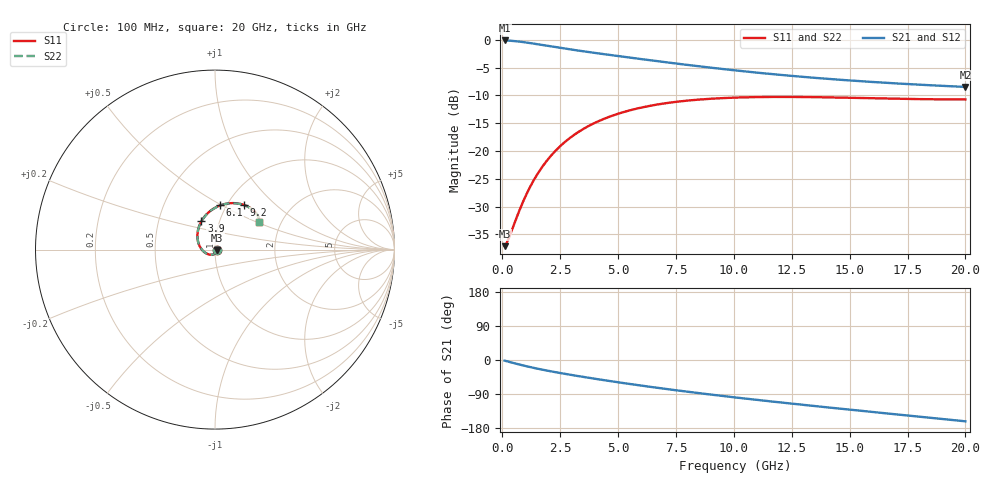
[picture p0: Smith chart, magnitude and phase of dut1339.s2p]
! Touchstone file exported from HFSS 2024.1.0
!  File:  C:/UserFiles/LocalFiles/RDL_TSV_Batchsim/temp_RDL_TSV_1339_1780391232.aedt
!  Generated:  05:22:02 PM Jun  2, 2026
!  Design:  RDL_TSV
!  Project:  temp_RDL_TSV_1339_1780391232
!  Setup:  Setup1
!  Solution:  Sweep
! Variables:
!  dtsv = 13.69um
!  hbump = 3um
!  htsv = 84.77um
!  ldown = 234.83um
!  lrdl = 301.14um
!  p = 40
!  p1 = 54.66um
!  rhole = 10um
!  subl = 1909.05um
!  t = 450um
!  tdown = 2.53um
!  trdl = 3.8um
!  viad = 10um
!  wdown = 11.61um
!  wrdl = 23.72um
!  xbump = 18um
# GHz S MA R 50.000000
! Terminal data exported
! Port[1] = TM1_1_T1
! Port[2] = TM1_4_T1
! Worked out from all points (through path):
!   200 points, 100 MHz to 20 GHz, reference 50 ohm
!   highest |S21| = -0.12 dB at 100 MHz (marker M1); lowest = -8.5 dB at 20 GHz (marker M2)
!   group delay of S21, straight-line fit = 21 ps
!   lowest |S11| = -37.1 dB at 100 MHz (marker M3), VSWR 1.03, Z = 51.3 - j0.467 ohm
!   |S11| at or under -10 dB: start of sweep to end of sweep
!   |S22| runs from -37.1 to -10.3 dB; largest |S21 - S12| = 2.4e-14
!   S11 on the Smith chart (normalised r, x): 100 MHz: 1.03, -0.01; 3.9 GHz: 0.82, +0.27; 6.1 GHz: 0.94, +0.49; 9.2 GHz: 1.19, +0.65; 20 GHz: 1.54, +0.53
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0.1  0.01395 -19.0  0.9858 -1.7  0.9858 -1.7  0.01395 -19.0
! Gamma 0 0 0 0
! Port Impedance 50 0 50 0
0.2  0.01509 -37.3  0.9842 -3.4  0.9842 -3.4  0.01509 -37.3
0.3  0.01683 -54.3  0.9816 -5.0  0.9816 -5.0  0.01683 -54.3
0.7  0.02788 -106.5  0.9649 -11.4  0.9649 -11.4  0.02788 -106.5
1  0.03908 -133.8  0.9472 -15.8  0.9472 -15.8  0.03906 -133.8
1.3  0.05196 -155.1  0.927 -20.0  0.927 -20.0  0.05192 -155.1
1.6  0.06597 -172.4  0.9059 -23.9  0.9059 -23.9  0.06591 -172.3
2  0.08562 169.0  0.878 -28.8  0.878 -28.8  0.08551 169.1
2.5  0.1105 150.7  0.8452 -34.4  0.8452 -34.4  0.1104 150.7
3  0.1348 136.0  0.8152 -39.6  0.8152 -39.6  0.1346 136.1
3.5  0.1578 124.0  0.7875 -44.7  0.7875 -44.7  0.1575 124.0
3.9  0.175 115.7  0.7666 -48.5  0.7666 -48.5  0.1747 115.7
4.9  0.2129 98.7  0.7185 -57.9  0.7185 -57.9  0.2124 98.7
6.1  0.2481 83.2  0.6662 -68.4  0.6662 -68.4  0.2476 83.2
6.8  0.2639 75.9  0.6381 -74.2  0.6381 -74.2  0.2633 75.9
8  0.2839 65.4  0.594 -83.7  0.594 -83.7  0.2833 65.4
9.2  0.2966 57.1  0.5552 -92.7  0.5552 -92.7  0.2958 57.1
10.1  0.3022 51.9  0.5295 -99.1  0.5295 -99.1  0.3014 51.9
11.7  0.3063 44.6  0.4902 -109.9  0.4902 -109.9  0.3055 44.6
13.4  0.3051 39.1  0.4564 -120.9  0.4564 -120.9  0.3042 39.1
16.7  0.296 33.3  0.4087 -141.5  0.4087 -141.5  0.2951 33.3
20  0.2908 32.4  0.3767 -161.8  0.3767 -161.8  0.29 32.4
